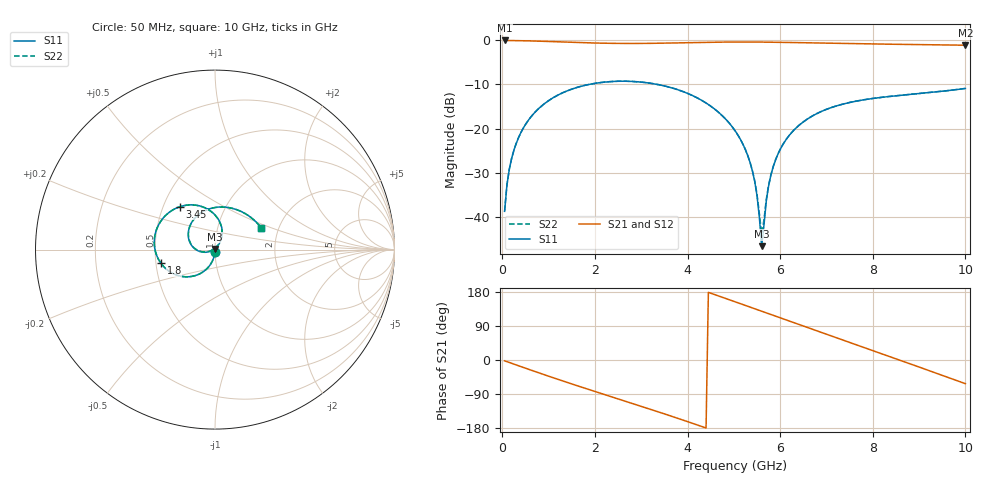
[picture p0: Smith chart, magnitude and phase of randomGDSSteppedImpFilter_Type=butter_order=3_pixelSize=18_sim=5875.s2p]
! freq	dB(S11)	phase(S11)	dB(S12)	phase(S12)
!  dB(S21)	phase(S21)	dB(S22)	phase(S22)
!S-par simulation data
#  GHz  S  DB  R 50
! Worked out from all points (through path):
!   200 points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, 50 MHz to 10 GHz, reference 50 ohm
!   highest |S21| = 0.00 dB at 50 MHz (marker M1); lowest = -1.1 dB at 10 GHz (marker M2)
!   group delay of S21, straight-line fit = 117 ps
!   lowest |S11| = -46.7 dB at 5.6 GHz (marker M3), VSWR 1.01, Z = 49.8 + j0.422 ohm
!   |S11| at or under -10 dB: start of sweep to 1.869 GHz; 3.354 GHz to end of sweep
!   |S22| runs from -43.9 to -9.3 dB; largest |S21 - S12| = 0
!   S11 on the Smith chart (normalised r, x): 50 MHz: 1.00, -0.02; 1.8 GHz: 0.53, -0.09; 3.45 GHz: 0.61, +0.32; 10 GHz: 1.62, +0.43
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0.05  -38.81 -92.2  -0.00 -2.2  -0.00 -2.2  -38.80 -92.3
0.1  -32.82 -94.7  -0.01 -4.4  -0.01 -4.4  -32.82 -94.7
0.2  -26.86 -99.1  -0.02 -8.7  -0.02 -8.7  -26.86 -99.1
0.5  -19.10 -112.0  -0.08 -21.6  -0.08 -21.6  -19.10 -112.0
1  -13.67 -133.3  -0.24 -42.7  -0.24 -42.7  -13.67 -133.2
1.75  -10.28 -163.9  -0.51 -73.2  -0.51 -73.2  -10.28 -163.8
1.8  -10.16 -165.9  -0.53 -75.1  -0.53 -75.1  -10.16 -165.8
2.6  -9.26 162.8  -0.68 -106.5  -0.68 -106.5  -9.26 162.8
3.4  -10.10 131.3  -0.63 -138.1  -0.63 -138.1  -10.10 131.4
3.45  -10.21 129.3  -0.62 -140.1  -0.62 -140.1  -10.21 129.4
4.3  -13.57 94.6  -0.45 -175.2  -0.45 -175.2  -13.57 94.9
5.05  -20.88 63.9  -0.36 152.6  -0.36 152.6  -20.86 64.9
5.4  -29.61 53.6  -0.36 137.4  -0.36 137.4  -29.53 56.6
5.5  -35.21 56.4  -0.37 133.0  -0.37 133.0  -34.93 62.0
5.6  -46.72 113.2  -0.37 128.6  -0.37 128.6  -43.85 117.1
5.75  -33.07 -161.0  -0.39 122.1  -0.39 122.1  -32.90 -165.8
5.9  -27.16 -161.9  -0.41 115.5  -0.41 115.5  -27.12 -164.5
6.7  -17.13 167.0  -0.57 80.8  -0.57 80.8  -17.12 166.1
7.6  -13.87 128.3  -0.74 42.0  -0.74 42.0  -13.87 127.5
8.35  -12.74 95.7  -0.85 9.7  -0.85 9.7  -12.73 95.0
9.15  -11.92 61.2  -0.95 -25.1  -0.95 -25.1  -11.91 60.5
10  -10.90 25.3  -1.08 -62.5  -1.08 -62.5  -10.90 24.8
